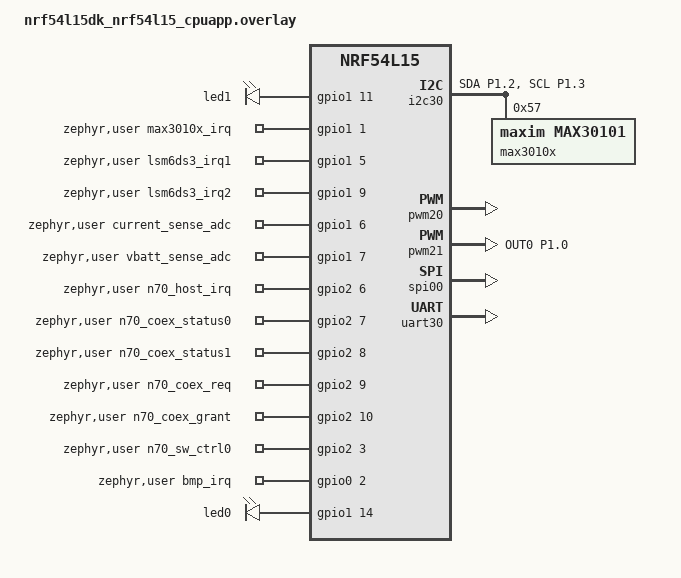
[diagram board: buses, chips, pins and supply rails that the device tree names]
/delete-node/ &button3;
/delete-node/ &button2;
/delete-node/ &button1;
/delete-node/ &led3;
/delete-node/ &led2;
/delete-node/ &led1;

/ {
		aliases {
			/delete-property/ led1;
			/delete-property/ led2;
			/delete-property/ led3;
			/delete-property/ button1;
			/delete-property/ button2;
			/delete-property/ button3;
		/delete-property/ sw1;
		/delete-property/ sw2;
		/delete-property/ sw3;
		/delete-property/ pwm-led0;
		};

	leds {
		led1 {
			label = "led1";
			gpios = <&gpio1 11 0>;
		};
	};
};

&pwm_led1 {
	/delete-property/ pwms;
};
/delete-node/ &{/pin-controller/pwm20_default/group1/};

&clock {
	status = "okay";
};

&i2c30 {
	max3010x@57 {
		compatible = "maxim,max30101";
		reg = <0x57>;
	};

	status = "okay";
	pinctrl-0 = <&i2c30_default>;
	pinctrl-1 = <&i2c30_sleep>;
	pinctrl-names = "default", "sleep";
};

&pinctrl {
	i2c30_default: i2c30_default {
		group1 {
			psels = <NRF_PSEL(TWIM_SDA, 1, 2)>, <NRF_PSEL(TWIM_SCL, 1, 3)>;
		};
	};

	i2c30_sleep: i2c30_sleep {
		group1 {
			psels = <NRF_PSEL(TWIM_SDA, 1, 2)>;
		};
	};

	pwm21_default: pwm21_default {
		group1 {
			psels = <NRF_PSEL(PWM_OUT0, 1, 0)>;
		};
	};

	pwm21_sleep: pwm21_sleep {
		group1 {
			psels = <NRF_PSEL(PWM_OUT0, 1, 0)>;
		};
	};
};

&uart20 {
	status = "disabled";
};

&pwm20 {
	status = "okay";
};

&led0 {
	gpios = <&gpio1 14 0>;
};

/ {
	zephyr,user {
		max3010x_irq-gpios = <&gpio1 1 0>;
		lsm6ds3_irq1-gpios = <&gpio1 5 0>;
		lsm6ds3_irq2-gpios = <&gpio1 9 0>;
		current_sense_adc-gpios = <&gpio1 6 0>;
		vbatt_sense_adc-gpios = <&gpio1 7 0>;
		n70_host_irq-gpios = <&gpio2 6 0>;
		n70_coex_status0-gpios = <&gpio2 7 0>;
		n70_coex_status1-gpios = <&gpio2 8 0>;
		n70_coex_req-gpios = <&gpio2 9 0>;
		n70_coex_grant-gpios = <&gpio2 10 0>;
		n70_sw_ctrl0-gpios = <&gpio2 3 0>;
		bmp_irq-gpios = <&gpio0 2 0>;
	};
};

&pwm20_default {
	group1 {
		psels = <NRF_PSEL(PWM_OUT0, 1, 8)>;
	};
};

&pwm21 {
	status = "okay";
	pinctrl-0 = <&pwm21_default>;
	pinctrl-1 = <&pwm21_sleep>;
	pinctrl-names = "default", "sleep";
};

&spi00 {
	status = "okay";
};

&mx25r64 {
	status = "disabled";
};
/delete-node/ &{/pwmleds/};

&uart00 {
	status = "disabled";
};

&uart21 {
	status = "disabled";
};

&uart22 {
	status = "disabled";
};

&uart30 {
	status = "okay";
};

&uart30_default {
	group1 {
		psels = <NRF_PSEL(UART_TX, 0, 0)>;
	};

	group2 {
		psels = <NRF_PSEL(UART_RX, 0, 1)>;
	};
};

&uart30_sleep {
	group1 {
		psels = <NRF_PSEL(UART_TX, 0, 0)>, <NRF_PSEL(UART_RX, 0, 1)>;
	};
};
